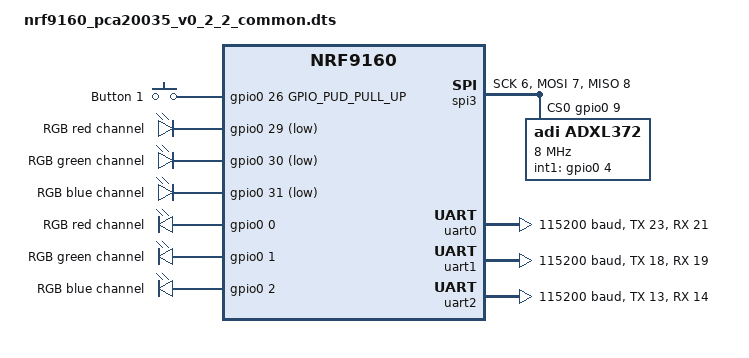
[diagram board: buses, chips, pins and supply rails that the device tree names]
/*
 * Copyright (c) 2019 Nordic Semiconductor ASA
 *
 * SPDX-License-Identifier: LicenseRef-BSD-5-Clause-Nordic
 */

#include "nrf9160_pca20035_common.dts"

/ {
	buttons {
		compatible = "gpio-keys";

		button0: button_0 {
			gpios = <&gpio0 26 GPIO_PUD_PULL_UP>;
			label = "Button 1";
		};
	};

	leds {
		compatible = "gpio-leds";
		red_led: led_1 {
			gpios = <&gpio0 29 GPIO_INT_ACTIVE_LOW>;
			label = "RGB red channel";
		};
		green_led: led_2 {
			gpios = <&gpio0 30 GPIO_INT_ACTIVE_LOW>;
			label = "RGB green channel";
		};
		blue_led: led_3 {
			gpios = <&gpio0 31 GPIO_INT_ACTIVE_LOW>;
			label = "RGB blue channel";
		};
		sense_red_led: led_4 {
			gpios = <&gpio0 0 0>;
			label = "RGB red channel";
		};
		sense_green_led: led_5 {
			gpios = <&gpio0 1 0>;
			label = "RGB green channel";
		};
		sense_blue_led: led_6 {
			gpios = <&gpio0 2 0>;
			label = "RGB blue channel";
		};
	};

	aliases {
		sw0 = &button0;
		led0 = &red_led;
		led1 = &green_led;
		led2 = &blue_led;
		sense-led0 = &sense_red_led;
		sense-led1 = &sense_green_led;
		sense-led2 = &sense_blue_led;
	};
};

&spi3 {
	status = "ok";
	sck-pin = <6>;
	mosi-pin = <7>;
	miso-pin = <8>;
	cs-gpios = <&gpio0 9 0>;

	adxl372@0 {
		compatible = "adi,adxl372";
		label = "ADXL372";
		spi-max-frequency = <8000000>;
		reg = <0>;
		int1-gpios = <&gpio0 4 0>;
	};
};

&uart0 {
	current-speed = <115200>;
	status = "ok";
	tx-pin = <23>;
	rx-pin = <21>;
	rts-pin = <24>;
	cts-pin = <25>;
};

&uart1 {
	current-speed = <115200>;
	status = "ok";
	tx-pin = <18>;
	rx-pin = <19>;
	rts-pin = <22>;
	cts-pin = <20>;
};

&uart2 {
	current-speed = <115200>;
	status = "ok";
	tx-pin = <13>;
	rx-pin = <14>;
	rts-pin = <15>;
	cts-pin = <16>;
};
